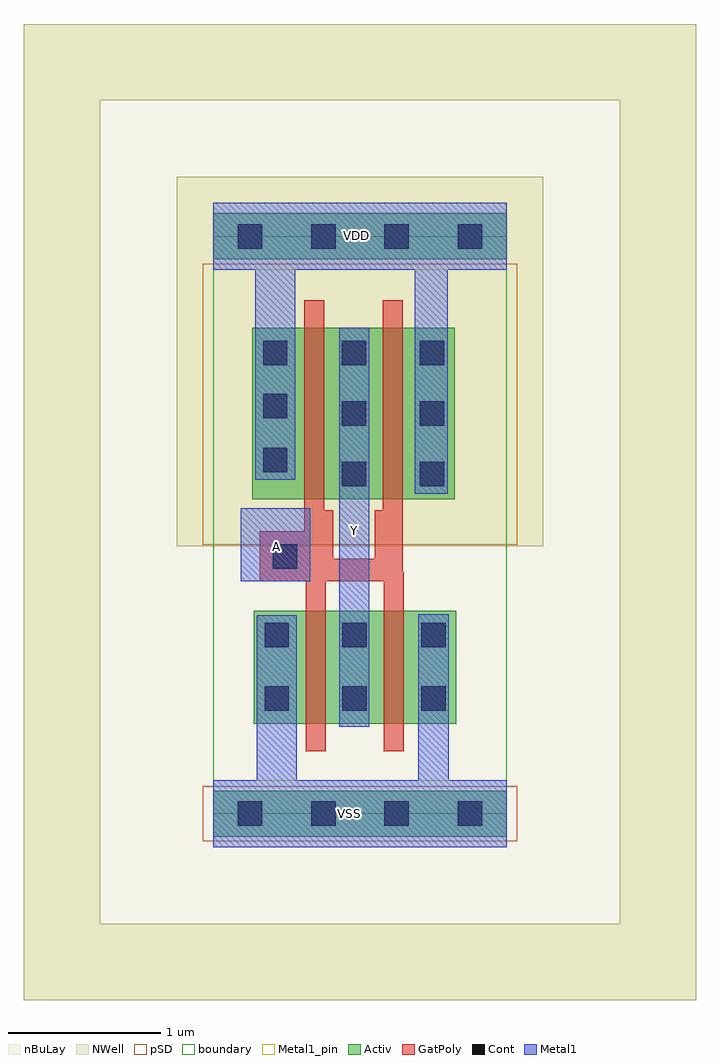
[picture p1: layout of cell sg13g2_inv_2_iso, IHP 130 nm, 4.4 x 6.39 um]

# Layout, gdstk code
import gdstk
lib = gdstk.Library(unit=1e-6, precision=1e-09)
def R(c, l, rs):  # rectangles x0, y0, x1, y1
    for r in rs: c.add(gdstk.rectangle(r[:2], r[2:], *l))
def A(c, l, x, y, w, h, nx, ny, dx, dy):  # array of equal rectangles
    R(c, l, [(x+i*dx, y+j*dy, x+i*dx+w, y+j*dy+h) for i in range(nx) for j in range(ny)])
def P(c, l, *ps):  # polygons
    for p in ps: c.add(gdstk.Polygon(p, *l))
Activ = (1, 0)
GatPoly = (5, 0)
Cont = (6, 0)
Metal1 = (8, 0)
Metal1_pin = (8, 2)
pSD = (14, 0)
NWell = (31, 0)
nBuLay = (32, 0)
boundary = (189, 4)

sg13g2_inv_2_iso = lib.new_cell('sg13g2_inv_2_iso')
R(sg13g2_inv_2_iso, Activ, [(0,-0.15,1.92,0.15), (0.265,0.59,1.59,1.33), (0.255,2.06,1.58,3.18), (0,3.63,1.92,3.93)])
P(sg13g2_inv_2_iso, GatPoly, [(1.24,3.36),(1.11,3.36),(1.11,1.985),(1.055,1.985),(1.055,1.67),(0.785,1.67),(0.785,1.985),(0.725,1.985),(0.725,3.36),(0.595,3.36),(0.595,1.85),(0.305,1.85),(0.305,1.52),(0.605,1.52),(0.605,0.41),(0.735,0.41),(0.735,1.52),(1.115,1.52),(1.115,0.41),(1.245,0.41),(1.245,1.585),(1.24,1.585)])
A(sg13g2_inv_2_iso, Cont, 0.84, 2.145, 0.16, 0.16, 1, 3, 0, 0.395)
A(sg13g2_inv_2_iso, Cont, 1.35, 2.145, 0.16, 0.16, 1, 3, 0, 0.395)
R(sg13g2_inv_2_iso, Cont, [(0.16,-0.08,0.32,0.08), (0.16,-0.08,0.32,0.08), (0.64,-0.08,0.8,0.08), (0.64,-0.08,0.8,0.08), (1.12,-0.08,1.28,0.08), (1.12,-0.08,1.28,0.08), (1.6,-0.08,1.76,0.08), (1.6,-0.08,1.76,0.08), (0.335,0.675,0.495,0.835), (0.845,0.675,1.005,0.835), (1.36,0.675,1.52,0.835), (0.335,1.09,0.495,1.25), (0.845,1.09,1.005,1.25), (1.36,1.09,1.52,1.25), (0.39,1.605,0.55,1.765), (0.325,2.235,0.485,2.395), (0.325,2.59,0.485,2.75), (0.325,2.935,0.485,3.095), (0.16,3.7,0.32,3.86), (0.16,3.7,0.32,3.86), (0.64,3.7,0.8,3.86), (0.64,3.7,0.8,3.86), (1.12,3.7,1.28,3.86), (1.12,3.7,1.28,3.86), (1.6,3.7,1.76,3.86), (1.6,3.7,1.76,3.86)])
R(sg13g2_inv_2_iso, Metal1, [(0.825,0.57,1.02,3.18), (0.18,1.52,0.635,2)])
P(sg13g2_inv_2_iso, Metal1, [(0,3.56),(0,4),(1.92,4),(1.92,3.56),(1.535,3.56),(1.535,2.095),(1.32,2.095),(1.32,3.56),(0.535,3.56),(0.535,2.185),(0.275,2.185),(0.275,3.56)],
  [(0,-0.22),(0,0.22),(0.285,0.22),(0.285,1.3),(0.545,1.3),(0.545,0.22),(1.34,0.22),(1.34,1.305),(1.54,1.305),(1.54,0.22),(1.92,0.22),(1.92,-0.22)])
R(sg13g2_inv_2_iso, Metal1_pin, [(0,-0.22,1.92,0.22), (0.825,0.57,1.02,3.18), (0.18,1.52,0.635,2), (0,3.56,1.92,4)])
R(sg13g2_inv_2_iso, pSD, [(-0.07,-0.18,1.99,0.18), (-0.07,1.76,1.99,3.6)])
R(sg13g2_inv_2_iso, NWell, [(-1.24,-1.22,3.16,-0.72), (-1.24,-0.72,-0.74,4.67), (2.66,-0.72,3.16,4.67), (-0.24,1.75,2.16,4.17), (-1.24,4.67,3.16,5.17)])
P(sg13g2_inv_2_iso, nBuLay, [(3.16,5.17),(-1.24,5.17),(-1.24,3.63),(0,3.63),(0,3.93),(1.92,3.93),(1.92,3.63),(0,3.63),(-1.24,3.63),(-1.24,-1.22),(3.16,-1.22)])
R(sg13g2_inv_2_iso, boundary, [(0,0,1.92,3.78)])
sg13g2_inv_2_iso.add(gdstk.Label('VSS', (0.89,0), layer=8, texttype=25))
sg13g2_inv_2_iso.add(gdstk.Label('VDD', (0.935,3.785), layer=8, texttype=25))
sg13g2_inv_2_iso.add(gdstk.Label('Y', (0.925,1.855), layer=8, texttype=25))
sg13g2_inv_2_iso.add(gdstk.Label('A', (0.415,1.75), layer=8, texttype=25))

lib.write_gds('sg13g2_inv_2_iso.gds')
